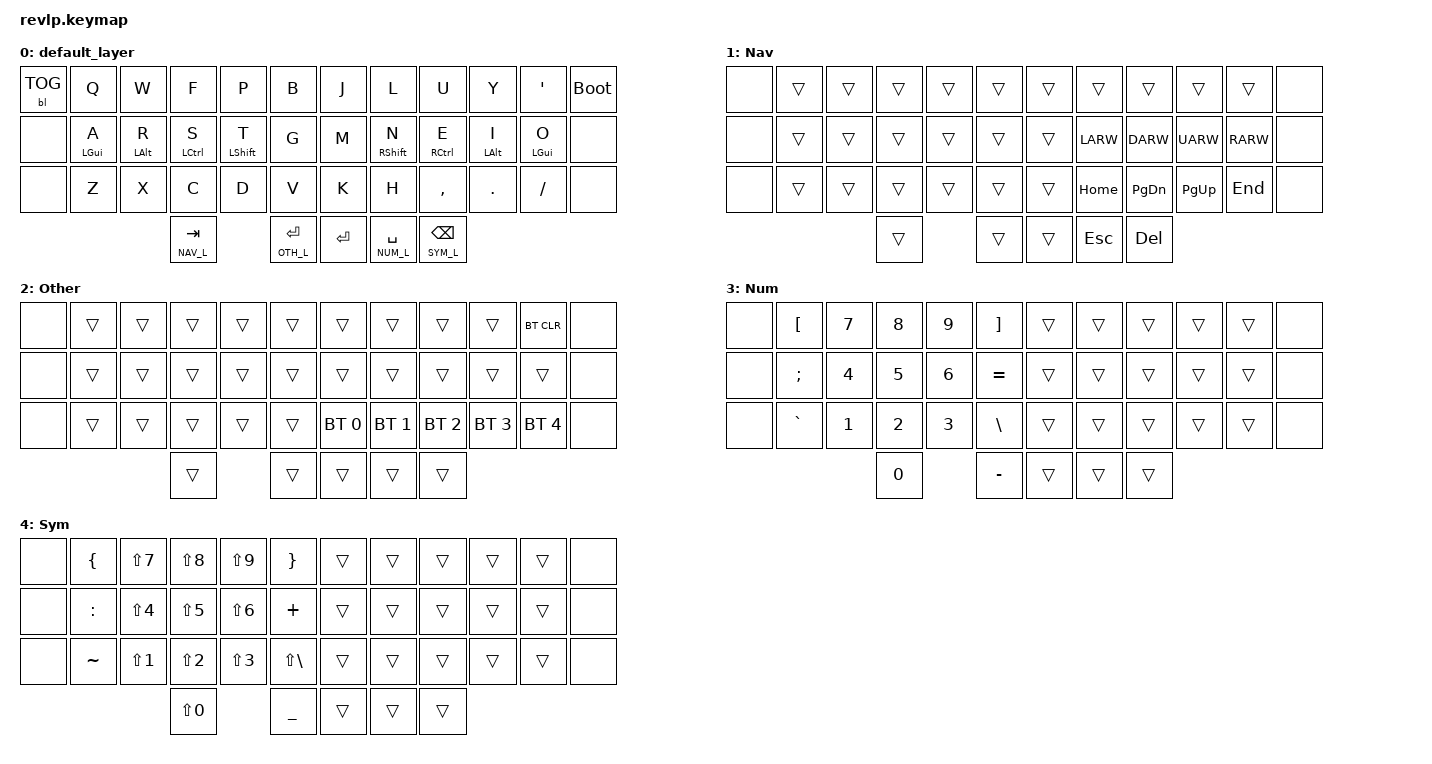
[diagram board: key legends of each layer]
/*
 * Copyright (c) 2020 The ZMK Contributors
 *
 * SPDX-License-Identifier: MIT
 */

#include <behaviors.dtsi>
#include <dt-bindings/zmk/keys.h>
#include <dt-bindings/zmk/bt.h>
#include <dt-bindings/zmk/backlight.h>


#define NAV_L 1
#define OTH_L 2
#define NUM_L 3
#define SYM_L 4
#define FUN_L 5
#define MED_L 6
/ {
    combos {
        compatible = "zmk,combos";

        caps_word_combo {
	    timeout-ms = <50>;
            key-positions = <16 19>;
            bindings = <&caps_word>;
        };
    };
    behaviors {
        hm: homerow_mods {
            compatible = "zmk,behavior-hold-tap";
            label = "homerow mods";
            #binding-cells = <2>;
            tapping_term_ms = <200>;
            flavor = "tap-preferred";
            bindings = <&kp>, <&kp>;
        };
    };

        keymap {
                compatible = "zmk,keymap";

                default_layer {
// -------------------------------------------------------------------------------------
// |  TAB |  Q  |  W  |  E  |  R  |  T  |   |  Y  |  U   |  I  |  O  |  P  |   BKSP    |
// | CTRL |  A  |  S  |  D  |  F  |  G  |   |  H  |  J   |  K  |  L  |  ;  |    '      |
// | SHFT |  Z  |  X  |  C  |  V  |  B  |   |  N  |  M   |  ,  |  .  |  /  | SHFT(RET) |
//                         | ALT | LWR | SPC | RSE  | ALT |
            bindings = <
&bl BL_TOG &kp Q      &kp W      &kp F       &kp P          &kp B         &kp J            &kp L          &kp U       &kp Y      &kp QUOT &bootloader
&none &hm LGUI A &hm LALT R &hm LCTRL S &hm LSHFT T    &kp G         &kp M            &hm RSHFT N    &hm RCTRL E &hm LALT I &hm LGUI O &none
&none &kp Z      &kp X      &kp C       &kp D          &kp V         &kp K            &kp H          &kp COMMA   &kp DOT    &kp FSLH      &none
                                  &lt NAV_L TAB  &lt OTH_L RET &kp RET &lt NUM_L SPACE  &lt SYM_L BKSP
            >;
                };

        nav_layer {
            label = "Nav";
            bindings = <
&none                 &trans     &trans     &trans      &trans          &trans       &trans           &trans         &trans      &trans     &trans &none
&none                 &trans     &trans     &trans      &trans          &trans       &trans           &kp LARW       &kp DARW    &kp UARW   &kp RARW &none
&none                 &trans     &trans     &trans      &trans          &trans       &trans           &kp HOME       &kp PG_DN   &kp PG_UP  &kp END &none
                                                  &trans          &trans    &trans    &kp ESC          &kp DEL
            >;
        };

        other_layer {
            label = "Other";
            bindings = <
&none                 &trans	   &trans     &trans      &trans          &trans       &trans           &trans         &trans       &trans       &bt BT_CLR &none
&none                 &trans     &trans     &trans      &trans          &trans       &trans           &trans         &trans       &trans       &trans &none
&none                 &trans     &trans     &trans      &trans          &trans       &bt BT_SEL 0     &bt BT_SEL 1   &bt BT_SEL 2 &bt BT_SEL 3 &bt BT_SEL 4 &none
                                                  &trans          &trans   &trans     &trans           &trans
            >;
        };

        num_layer {
            label = "Num";
            bindings = <
&none                 &kp LBKT   &kp N7     &kp N8      &kp N9          &kp RBKT      &trans          &trans         &trans      &trans     &trans &none
&none                 &kp SEMI   &kp N4     &kp N5      &kp N6          &kp EQUAL     &trans          &trans         &trans      &trans     &trans &none
&none                 &kp GRAVE  &kp N1     &kp N2      &kp N3          &kp BSLH      &trans          &trans         &trans      &trans     &trans &none
                                                  &kp N0          &kp MINUS   &trans   &trans          &trans
            >;
        };

        sym_layer {
            label = "Sym";
            bindings = <
&none                 &kp LBRC     &kp LS(N7)  &kp LS(N8)  &kp LS(N9) &kp RBRC        &trans &trans   &trans    &trans    &trans &none
&none                 &kp COLON    &kp LS(N4)  &kp LS(N5)  &kp LS(N6) &kp PLUS        &trans &trans   &trans    &trans    &trans &none
&none                 &kp TILDE    &kp LS(N1)  &kp LS(N2)  &kp LS(N3) &kp LS(BSLH)    &trans &trans   &trans    &trans    &trans &none
                                                   &kp LS(N0) &kp UNDER      &trans    &trans &trans
            >;
        };

        };
};
